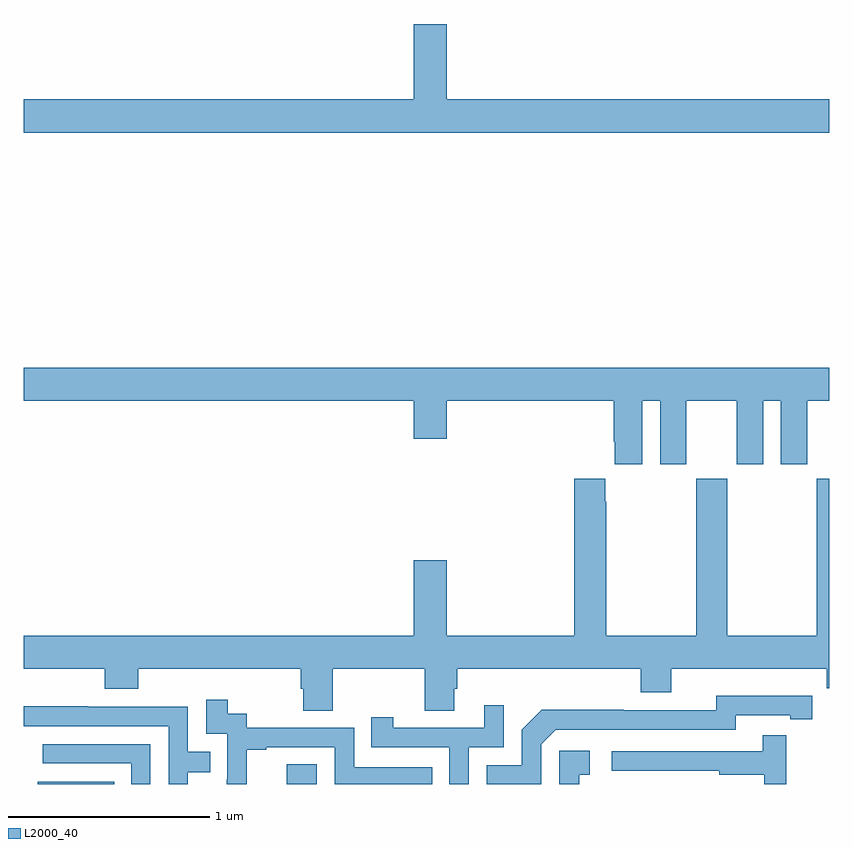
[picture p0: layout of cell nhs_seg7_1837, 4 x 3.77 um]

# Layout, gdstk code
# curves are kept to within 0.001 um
import gdstk
lib = gdstk.Library(unit=1e-6, precision=1e-09)
def R(c, l, rs):  # rectangles x0, y0, x1, y1
    for r in rs: c.add(gdstk.rectangle(r[:2], r[2:], *l))
def P(c, l, *ps):  # polygons
    for p in ps: c.add(gdstk.Polygon(p, *l))
L2000_40 = (2000, 40)

nhs_seg7_1837 = lib.new_cell('nhs_seg7_1837')
R(nhs_seg7_1837, L2000_40, [(235.07,1044,235.448,1044.01), (236.307,1044,236.454,1044.097)])
P(nhs_seg7_1837, L2000_40, [(239,1047.4),(237.1,1047.4),(237.1,1047.775),(236.936,1047.775),(236.936,1047.4),(235,1047.4),(235,1047.236),(239,1047.236)],
  [(238.072,1045.904),(238.16,1045.904),(238.16,1045.587),(238.291,1045.587),(238.291,1045.904),(238.541,1045.904),(238.541,1045.587),(238.672,1045.587),(238.672,1045.904),(238.76,1045.904),(238.76,1045.587),(238.891,1045.587),(238.891,1045.904),(239,1045.904),(239,1046.068),(235,1046.068),(235,1045.904),(236.936,1045.904),(236.936,1045.716),(237.1,1045.716),(237.1,1045.904),(237.929,1045.904),(237.929,1045.699),(237.935,1045.699),(237.935,1045.587),(238.072,1045.587)],
  [(236.535,1044.572),(236.992,1044.572),(236.992,1044.364),(237.139,1044.364),(237.139,1044.474),(237.152,1044.474),(237.152,1044.572),(238.064,1044.572),(238.064,1044.455),(238.216,1044.455),(238.216,1044.572),(238.988,1044.572),(238.988,1044.476),(239,1044.476),(239,1045.516),(238.939,1045.516),(238.939,1044.736),(238.494,1044.736),(238.494,1045.516),(238.339,1045.516),(238.339,1044.736),(237.894,1044.736),(237.894,1045.403),(237.889,1045.403),(237.889,1045.516),(237.734,1045.516),(237.734,1044.736),(237.1,1044.736),(237.1,1045.111),(236.936,1045.111),(236.936,1044.736),(235,1044.736),(235,1044.572),(235.403,1044.572),(235.403,1044.473),(235.568,1044.473),(235.568,1044.572),(236.375,1044.572),(236.375,1044.474),(236.387,1044.474),(236.387,1044.364),(236.535,1044.364)],
  [(237.57,1044.198),(237.642,1044.27),(238.536,1044.27),(238.536,1044.342),(238.808,1044.342),(238.808,1044.322),(238.916,1044.322),(238.916,1044.438),(238.44,1044.439),(238.44,1044.366),(237.98,1044.366),(237.98,1044.368),(237.572,1044.368),(237.474,1044.27),(237.474,1044.093),(237.3,1044.093),(237.3,1044),(237.57,1044)],
  [(236.108,1044.171),(236.203,1044.171),(236.203,1044.183),(236.544,1044.183),(236.544,1044),(237.029,1044),(237.029,1044.084),(236.64,1044.084),(236.64,1044.279),(236.106,1044.279),(236.106,1044.348),(236.014,1044.348),(236.014,1044.418),(235.905,1044.418),(235.905,1044.249),(236.01,1044.249),(236.01,1044.02),(236.009,1044.02),(236.009,1044),(236.108,1044)],
  [(237.21,1044.183),(237.384,1044.183),(237.384,1044.391),(237.287,1044.391),(237.287,1044.279),(236.836,1044.279),(236.836,1044.331),(236.725,1044.331),(236.725,1044.183),(237.114,1044.183),(237.114,1044),(237.21,1044)],
  [(235.815,1044.058),(235.925,1044.058),(235.925,1044.159),(235.815,1044.159),(235.815,1044.384),(235.319,1044.384),(235.319,1044.386),(235,1044.386),(235,1044.288),(235.719,1044.288),(235.719,1044),(235.815,1044)],
  [(238.787,1044.241),(238.669,1044.241),(238.669,1044.162),(237.921,1044.162),(237.921,1044.066),(238.453,1044.066),(238.453,1044.046),(238.677,1044.046),(238.677,1044),(238.787,1044)],
  [(235.629,1044.198),(235.095,1044.198),(235.095,1044.102),(235.533,1044.102),(235.533,1044),(235.629,1044)],
  [(237.758,1044.045),(237.811,1044.045),(237.811,1044.166),(237.66,1044.166),(237.66,1044),(237.758,1044)])

lib.write_gds('nhs_seg7_1837.gds')
